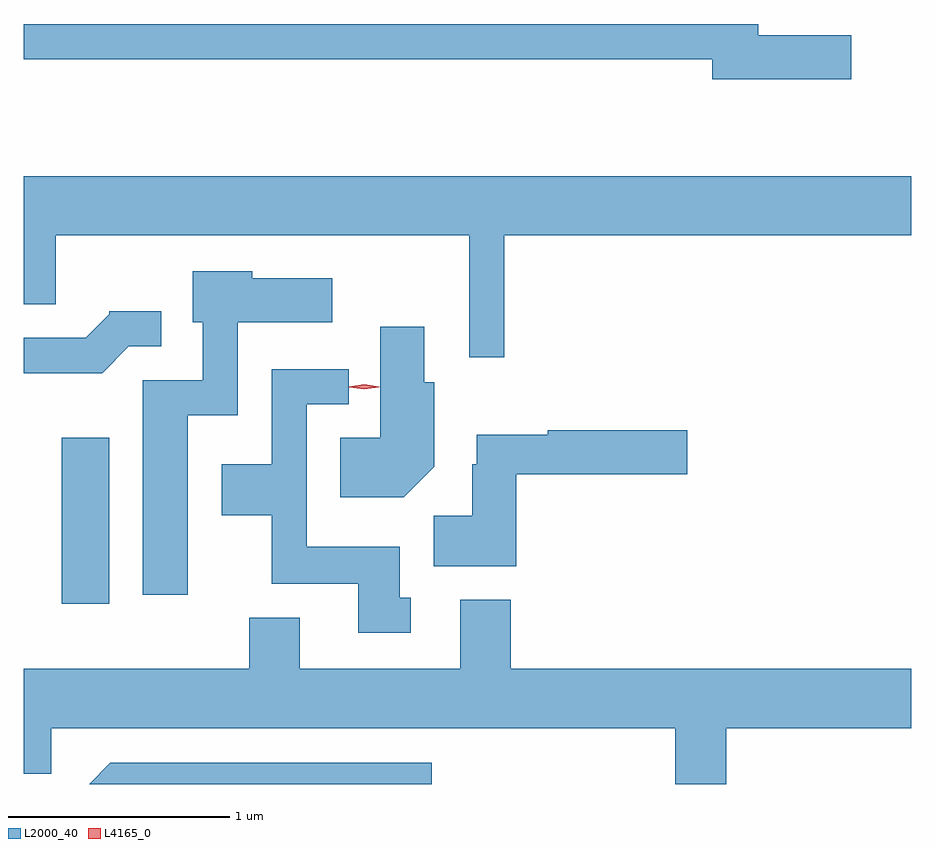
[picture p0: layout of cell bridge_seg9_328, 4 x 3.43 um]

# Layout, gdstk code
import gdstk
lib = gdstk.Library(unit=1e-6, precision=1e-09)
def R(c, l, rs):  # rectangles x0, y0, x1, y1
    for r in rs: c.add(gdstk.rectangle(r[:2], r[2:], *l))
def P(c, l, *ps):  # polygons
    for p in ps: c.add(gdstk.Polygon(p, *l))
L2000_40 = (2000, 40)
L4165_0 = (4165, 0)

bridge_seg9_328 = lib.new_cell('bridge_seg9_328')
R(bridge_seg9_328, L2000_40, [(784.356,2054.536,784.569,2055.284)])
P(bridge_seg9_328, L2000_40, [(787.914,2057.099),(787.494,2057.099),(787.494,2057.149),(784.184,2057.149),(784.184,2056.991),(787.286,2056.991),(787.286,2056.901),(787.914,2056.901)],
  [(786.349,2056.196),(788.184,2056.196),(788.184,2056.464),(784.184,2056.464),(784.184,2055.886),(784.329,2055.886),(784.329,2056.196),(786.191,2056.196),(786.191,2055.648),(786.349,2055.648)],
  [(784.924,2055.386),(785.149,2055.386),(785.149,2055.806),(785.574,2055.806),(785.574,2056.004),(785.214,2056.004),(785.214,2056.034),(784.946,2056.034),(784.946,2055.806),(784.991,2055.806),(784.991,2055.544),(784.721,2055.544),(784.721,2054.576),(784.924,2054.576)],
  [(784.657,2055.696),(784.803,2055.696),(784.803,2055.854),(784.57,2055.854),(784.57,2055.841),(784.464,2055.734),(784.184,2055.734),(784.184,2055.576),(784.537,2055.576)],
  [(786.034,2055.154),(786.034,2055.534),(785.989,2055.534),(785.989,2055.784),(785.791,2055.784),(785.791,2055.284),(785.611,2055.284),(785.611,2055.016),(785.897,2055.016)],
  [(785.928,2054.564),(785.879,2054.564),(785.879,2054.794),(785.459,2054.794),(785.459,2055.436),(785.648,2055.436),(785.648,2055.594),(785.301,2055.594),(785.301,2055.164),(785.076,2055.164),(785.076,2054.936),(785.301,2054.936),(785.301,2054.626),(785.691,2054.626),(785.691,2054.406),(785.928,2054.406)],
  [(786.404,2055.121),(787.174,2055.121),(787.174,2055.319),(786.546,2055.319),(786.546,2055.299),(786.226,2055.299),(786.226,2055.164),(786.206,2055.164),(786.206,2054.934),(786.031,2054.934),(786.031,2054.706),(786.404,2054.706)],
  [(787.349,2053.976),(788.184,2053.976),(788.184,2054.244),(786.379,2054.244),(786.379,2054.554),(786.151,2054.554),(786.151,2054.244),(785.429,2054.244),(785.429,2054.474),(785.201,2054.474),(785.201,2054.244),(784.184,2054.244),(784.184,2053.771),(784.309,2053.771),(784.309,2053.976),(787.121,2053.976),(787.121,2053.724),(787.349,2053.724)],
  [(786.024,2053.819),(784.574,2053.819),(784.479,2053.724),(786.024,2053.724)])
P(bridge_seg9_328, L4165_0, [(785.718,2055.503),(785.652,2055.512),(785.652,2055.513),(785.652,2055.513),(785.718,2055.523),(785.785,2055.513),(785.785,2055.513),(785.785,2055.512)],
  [(785.718,2055.505),(785.649,2055.514),(785.648,2055.515),(785.649,2055.515),(785.718,2055.525),(785.787,2055.515),(785.787,2055.515),(785.787,2055.514)])

lib.write_gds('bridge_seg9_328.gds')
